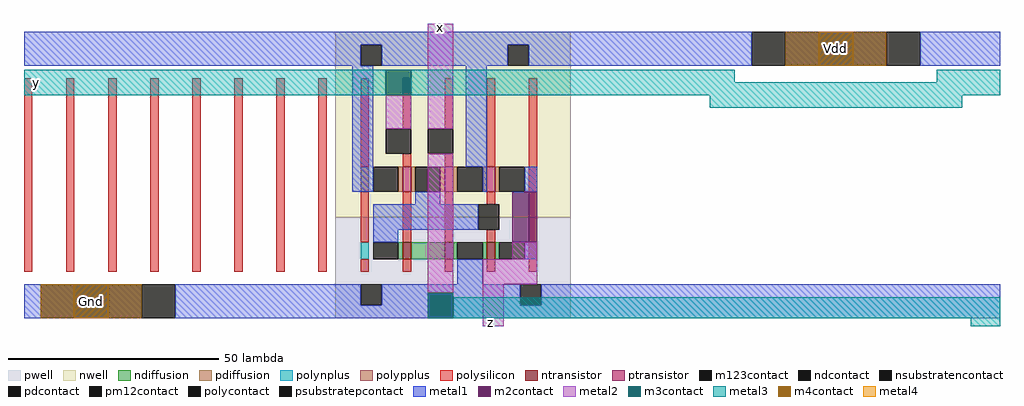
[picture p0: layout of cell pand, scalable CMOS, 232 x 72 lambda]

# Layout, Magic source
magic
tech scmos
<< nwell >>
rect 74 -38 130 6
<< pwell >>
rect 74 -62 130 -38
<< ntransistor >>
rect 90 -48 92 -44
rect 100 -48 102 -44
rect 110 -48 112 -44
<< ptransistor >>
rect 90 -32 92 -26
rect 100 -32 102 -26
rect 110 -32 112 -26
<< ndiffusion >>
rect 89 -48 90 -44
rect 92 -48 100 -44
rect 102 -48 103 -44
rect 109 -48 110 -44
rect 112 -48 113 -44
<< pdiffusion >>
rect 89 -32 90 -26
rect 92 -32 93 -26
rect 99 -32 100 -26
rect 102 -32 103 -26
rect 109 -32 110 -26
rect 112 -32 113 -26
<< ndcontact >>
rect 83 -48 89 -44
rect 103 -48 109 -44
rect 113 -48 119 -44
<< pdcontact >>
rect 83 -32 89 -26
rect 93 -32 99 -26
rect 103 -32 109 -26
rect 113 -32 119 -26
<< psubstratepcontact >>
rect 80 -59 85 -54
rect 118 -59 123 -54
<< nsubstratencontact >>
rect 80 -2 85 3
rect 115 -2 120 3
<< polysilicon >>
rect 0 -51 2 -5
rect 10 -51 12 -5
rect 20 -51 22 -5
rect 30 -51 32 -5
rect 40 -51 42 -5
rect 50 -51 52 -5
rect 60 -51 62 -5
rect 70 -51 72 -5
rect 80 -26 82 -5
rect 90 -17 92 -5
rect 100 -17 102 -5
rect 90 -26 92 -23
rect 100 -26 102 -23
rect 110 -26 112 -5
rect 80 -44 82 -32
rect 90 -44 92 -32
rect 100 -44 102 -32
rect 110 -35 112 -32
rect 110 -44 112 -41
rect 80 -51 82 -48
rect 90 -51 92 -48
rect 100 -51 102 -48
rect 110 -51 112 -48
rect 120 -51 122 -5
<< polycontact >>
rect 108 -41 113 -35
<< polypplus >>
rect 80 -32 82 -26
<< polynplus >>
rect 80 -48 82 -44
<< metal1 >>
rect 0 3 173 6
rect 0 -2 80 3
rect 85 -2 115 3
rect 120 -2 173 3
rect 181 -2 189 6
rect 197 -2 205 6
rect 213 -2 232 6
rect 78 -32 83 -2
rect 105 -26 110 -2
rect 109 -32 110 -26
rect 119 -32 122 -26
rect 93 -35 99 -32
rect 83 -41 108 -35
rect 83 -44 89 -41
rect 119 -48 122 -44
rect 103 -54 109 -48
rect 0 -62 12 -54
rect 20 -62 28 -54
rect 36 -59 80 -54
rect 85 -59 118 -54
rect 123 -59 232 -54
rect 36 -62 232 -59
<< m2contact >>
rect 116 -44 122 -32
<< pm12contact >>
rect 86 -23 92 -17
rect 96 -23 102 -17
<< metal2 >>
rect 86 -17 92 -9
rect 96 -17 102 8
rect 96 -56 102 -23
rect 116 -48 122 -44
rect 109 -54 122 -48
rect 109 -64 114 -54
<< m3contact >>
rect 86 -9 92 -3
rect 96 -62 102 -56
<< m123contact >>
rect 173 -2 181 6
rect 189 -2 197 6
rect 205 -2 213 6
rect 12 -62 20 -54
rect 28 -62 36 -54
<< metal3 >>
rect 0 -9 86 -3
rect 92 -6 169 -3
rect 217 -6 232 -3
rect 92 -9 232 -6
rect 163 -12 223 -9
rect 102 -62 232 -57
rect 225 -64 232 -62
<< m4contact >>
rect 181 -2 189 6
rect 197 -2 205 6
rect 4 -62 12 -54
rect 20 -62 28 -54
<< metal4 >>
rect 189 -2 197 6
rect 12 -62 20 -54
<< labels >>
rlabel metal2 99 7 99 7 5 x
rlabel metal2 111 -63 111 -63 1 z
rlabel metal4 16 -58 16 -58 1 Gnd
rlabel metal4 193 2 193 2 1 Vdd
rlabel metal3 3 -6 3 -6 3 y
<< end >>
